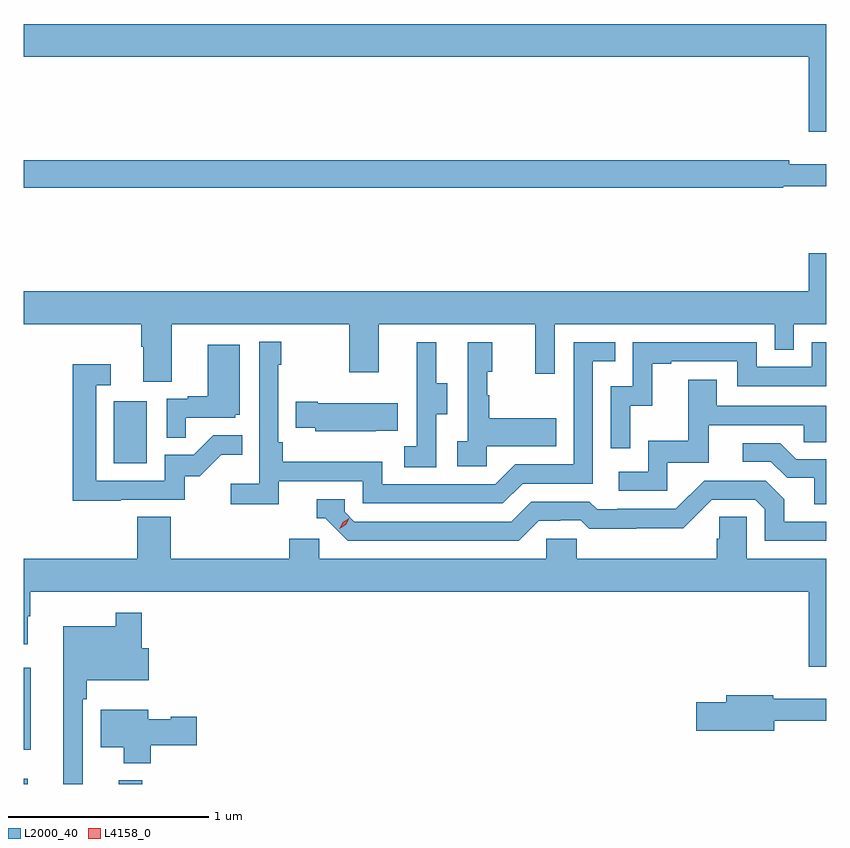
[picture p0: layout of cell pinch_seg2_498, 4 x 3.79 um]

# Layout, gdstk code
import gdstk
lib = gdstk.Library(unit=1e-6, precision=1e-09)
def R(c, l, rs):  # rectangles x0, y0, x1, y1
    for r in rs: c.add(gdstk.rectangle(r[:2], r[2:], *l))
def P(c, l, *ps):  # polygons
    for p in ps: c.add(gdstk.Polygon(p, *l))
L2000_40 = (2000, 40)
L4158_0 = (4158, 0)

pinch_seg2_498 = lib.new_cell('pinch_seg2_498')
R(pinch_seg2_498, L2000_40, [(964.292,598.725,964.313,598.75), (964.766,598.725,964.883,598.744), (964.292,598.895,964.327,599.305), (964.742,600.324,964.906,600.631)])
P(pinch_seg2_498, L2000_40, [(968.292,602.512),(964.292,602.512),(964.292,602.348),(968.204,602.348),(968.204,601.974),(968.292,601.974)],
  [(968.078,601.704),(968.292,601.704),(968.292,601.813),(968.108,601.813),(968.108,601.832),(964.292,601.832),(964.292,601.696),(968.078,601.696)],
  [(965.029,601.016),(965.914,601.016),(965.914,600.777),(966.061,600.777),(966.061,601.016),(966.842,601.016),(966.842,600.768),(966.939,600.768),(966.939,601.016),(968.034,601.016),(968.034,600.889),(968.13,600.889),(968.13,601.016),(968.292,601.016),(968.292,601.369),(968.204,601.369),(968.204,601.18),(964.292,601.18),(964.292,601.016),(964.877,601.016),(964.877,600.904),(964.889,600.904),(964.889,600.73),(965.029,600.73)],
  [(965.564,600.234),(965.982,600.234),(965.982,600.123),(966.679,600.123),(966.778,600.222),(967.128,600.222),(967.128,600.831),(967.241,600.831),(967.241,600.927),(967.032,600.927),(967.032,600.318),(966.741,600.318),(966.642,600.219),(966.078,600.219),(966.078,600.331),(965.582,600.331),(965.582,600.427),(965.562,600.427),(965.562,600.815),(965.575,600.815),(965.575,600.928),(965.466,600.928),(965.466,600.22),(965.325,600.22),(965.325,600.118),(965.564,600.118)],
  [(967.314,600.611),(967.424,600.611),(967.424,600.819),(967.519,600.819),(967.519,600.831),(967.848,600.831),(967.848,600.708),(968.292,600.708),(968.292,600.927),(968.22,600.927),(968.22,600.804),(967.944,600.804),(967.944,600.927),(967.326,600.927),(967.326,600.708),(967.218,600.708),(967.218,600.399),(967.314,600.399)],
  [(966.6,600.407),(966.947,600.407),(966.947,600.547),(966.613,600.547),(966.613,600.662),(966.603,600.662),(966.603,600.78),(966.628,600.78),(966.628,600.925),(966.504,600.925),(966.504,600.434),(966.453,600.434),(966.453,600.309),(966.6,600.309)],
  [(966.348,600.568),(966.403,600.568),(966.403,600.723),(966.349,600.723),(966.349,600.925),(966.251,600.925),(966.251,600.711),(966.252,600.711),(966.252,600.407),(966.189,600.407),(966.189,600.304),(966.348,600.304)],
  [(965.099,600.549),(965.346,600.549),(965.346,600.564),(965.368,600.564),(965.368,600.913),(965.21,600.913),(965.21,600.658),(965.111,600.658),(965.111,600.645),(965.004,600.645),(965.004,600.451),(965.099,600.451)],
  [(964.775,600.141),(965.094,600.141),(965.094,600.258),(965.17,600.258),(965.277,600.365),(965.381,600.365),(965.381,600.464),(965.237,600.464),(965.139,600.366),(964.995,600.366),(964.995,600.237),(964.653,600.237),(964.653,600.711),(964.726,600.711),(964.726,600.817),(964.537,600.817),(964.537,600.136),(964.775,600.136)],
  [(967.5,600.327),(967.705,600.327),(967.705,600.513),(968.179,600.513),(968.179,600.429),(968.292,600.429),(968.292,600.609),(967.747,600.609),(967.747,600.739),(967.603,600.739),(967.603,600.436),(967.404,600.436),(967.404,600.282),(967.257,600.282),(967.257,600.186),(967.5,600.186)],
  [(966.047,600.485),(966.155,600.485),(966.155,600.622),(965.758,600.622),(965.758,600.63),(965.647,600.63),(965.647,600.5),(965.745,600.5),(965.745,600.482),(966.047,600.482)],
  [(968.292,600.342),(968.143,600.342),(968.062,600.423),(967.875,600.423),(967.875,600.33),(968.016,600.33),(968.096,600.25),(968.231,600.25),(968.231,600.118),(968.292,600.118)],
  [(966.859,600.036),(966.966,600.036),(966.966,600.039),(967.069,600.039),(967.111,599.997),(967.344,599.997),(967.344,599.999),(967.58,599.999),(967.722,600.141),(967.938,600.141),(967.986,600.093),(967.986,599.937),(968.292,599.937),(968.292,600.033),(968.083,600.033),(968.083,600.143),(967.989,600.237),(967.683,600.237),(967.542,600.096),(967.249,600.096),(967.249,600.093),(967.15,600.093),(967.111,600.132),(966.822,600.132),(966.723,600.033),(965.94,600.033),(965.892,600.081),(965.892,600.144),(965.753,600.144),(965.753,600.048),(965.796,600.048),(965.907,599.937),(966.76,599.937)],
  [(968.292,599.848),(967.896,599.848),(967.896,600.056),(967.759,600.056),(967.759,599.946),(967.745,599.946),(967.745,599.848),(967.047,599.848),(967.047,599.946),(966.897,599.946),(966.897,599.848),(965.766,599.848),(965.766,599.946),(965.615,599.946),(965.615,599.848),(965.024,599.848),(965.024,600.056),(964.859,600.056),(964.859,599.848),(964.292,599.848),(964.292,599.421),(964.312,599.421),(964.312,599.561),(964.324,599.561),(964.324,599.684),(968.204,599.684),(968.204,599.31),(968.292,599.31)],
  [(964.587,599.147),(964.607,599.147),(964.607,599.243),(964.915,599.243),(964.915,599.401),(964.88,599.401),(964.88,599.578),(964.752,599.578),(964.752,599.512),(964.49,599.512),(964.49,598.725),(964.587,598.725)],
  [(968.032,599.04),(968.292,599.04),(968.292,599.149),(968.028,599.149),(968.028,599.168),(967.793,599.168),(967.793,599.132),(967.644,599.132),(967.644,598.99),(968.032,598.99)],
  [(964.925,598.918),(965.155,598.918),(965.155,599.06),(965.025,599.06),(965.025,599.047),(964.912,599.047),(964.912,599.095),(964.676,599.095),(964.676,598.907),(964.79,598.907),(964.79,598.829),(964.925,598.829)])
P(pinch_seg2_498, L4158_0, [(965.867,599.997),(965.867,599.997),(965.883,600.03),(965.914,600.049),(965.914,600.049),(965.914,600.049),(965.898,600.016),(965.867,599.997)])

lib.write_gds('pinch_seg2_498.gds')
